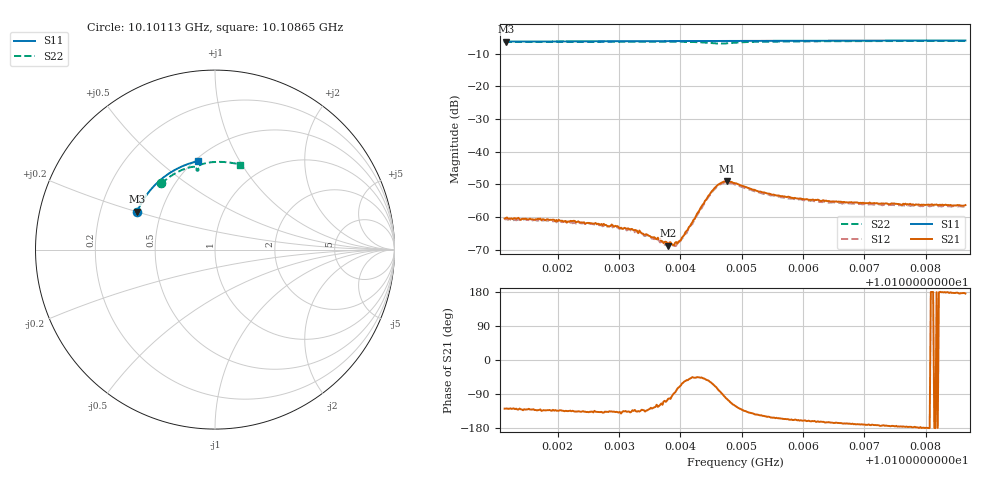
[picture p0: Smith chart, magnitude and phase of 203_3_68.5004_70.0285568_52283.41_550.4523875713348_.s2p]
#  HZ  S  RI  R  50.00
! Rohde & Schwarz Vector Network Analyzer
! Rohde-Schwarz,ZNB20-2Port,1311601062101988,3.16
! Created: UTC 3/20/2024, 4:57:43 PM
! freq[Hz]  re:S11  im:S11  re:S21  im:S21  re:S12  im:S12  re:S22  im:S22
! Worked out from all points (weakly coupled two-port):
!   401 points, 10.10113 GHz to 10.10865 GHz, reference 50 ohm
!   highest |S21| = -49.02 dB at 10.10476 GHz (marker M1); lowest = -68.7 dB at 10.1038 GHz (marker M2)
!   lowest |S11| = -6.3 dB at 10.10115 GHz (marker M3), VSWR 2.86, Z = 18.3 + j10.1 ohm
!   |S11| at or under -10 dB: nowhere
!   |S22| runs from -6.9 to -6.1 dB; largest |S21 - S12| = 0.00035
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1.0101135e10  -0.4337 0.2111  -0.00059 -0.000746  -0.000522 -0.000767  -0.2989 0.3689
1.0101153e10  -0.4332 0.212  -0.000598 -0.00076  -0.000516 -0.000768  -0.2981 0.3697
1.0101679e10  -0.4197 0.2411  -0.000638 -0.000698  -0.000547 -0.000694  -0.2719 0.3915
1.0102393e10  -0.3984 0.2789  -0.000599 -0.000574  -0.00052 -0.000608  -0.2334 0.4178
1.0102919e10  -0.3805 0.3054  -0.000514 -0.000494  -0.000447 -0.000516  -0.2029 0.4348
1.0103031e10  -0.3764 0.311  -0.000538 -0.000433  -0.000461 -0.000493  -0.1963 0.4382
1.0103182e10  -0.3709 0.3182  -0.000484 -0.00043  -0.0004 -0.00051  -0.1871 0.4425
1.0103351e10  -0.3645 0.3263  -0.000409 -0.000422  -0.000361 -0.000458  -0.1765 0.4471
1.0103651e10  -0.3527 0.3403  -0.000239 -0.000386  -0.000188 -0.000391  -0.1566 0.4543
1.0103801e10  -0.3466 0.3472  -7.82e-05 -0.00036  -5.23e-05 -0.000359  -0.1462 0.4574
1.0103895e10  -0.3427 0.3512  1.22e-05 -0.00037  6.12e-05 -0.000364  -0.1394 0.4591
1.0103989e10  -0.3388 0.3552  0.000147 -0.000409  0.000169 -0.000379  -0.1322 0.4604
1.0104083e10  -0.3347 0.3595  0.000335 -0.000484  0.000358 -0.000428  -0.1247 0.4612
1.0104365e10  -0.3227 0.3713  0.00104 -0.00116  0.00108 -0.000999  -0.1009 0.4572
1.0104534e10  -0.3151 0.3783  0.00113 -0.00234  0.00126 -0.00219  -0.092 0.4462
1.0104647e10  -0.3101 0.3828  0.000394 -0.00325  0.000662 -0.00309  -0.0954 0.4393
1.0104759e10  -0.3049 0.3872  -0.000781 -0.00345  -0.000477 -0.00333  -0.102 0.4415
1.0104891e10  -0.2991 0.3924  -0.00168 -0.00283  -0.00137 -0.00282  -0.1028 0.4518
1.0105454e10  -0.2719 0.4135  -0.00198 -0.00113  -0.00179 -0.00123  -0.0669 0.4776
1.0106149e10  -0.2368 0.4365  -0.00175 -0.000602  -0.00164 -0.000697  -0.0191 0.4867
1.0107407e10  -0.1684 0.4701  -0.00157 -0.000161  -0.0015 -0.000327  0.0634 0.4869
1.0108647e10  -0.0969 0.4922  -0.00152 0.000121  -0.00143 -3.23e-05  0.1417 0.4729
